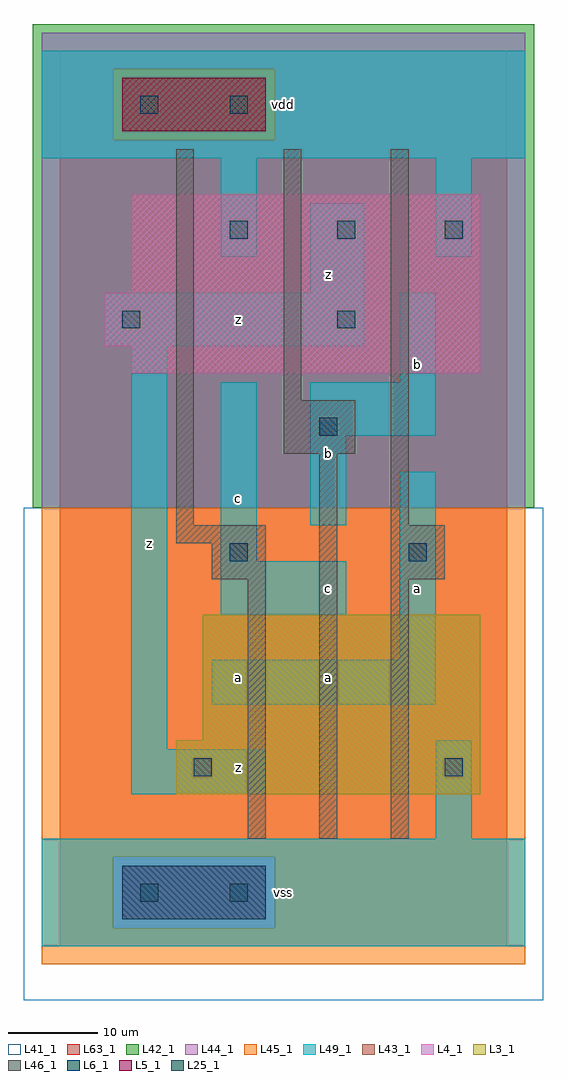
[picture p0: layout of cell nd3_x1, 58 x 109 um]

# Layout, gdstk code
import gdstk
lib = gdstk.Library(unit=1e-6, precision=1e-09)
def R(c, l, rs):  # rectangles x0, y0, x1, y1
    for r in rs: c.add(gdstk.rectangle(r[:2], r[2:], *l))
def A(c, l, x, y, w, h, nx, ny, dx, dy):  # array of equal rectangles
    R(c, l, [(x+i*dx, y+j*dy, x+i*dx+w, y+j*dy+h) for i in range(nx) for j in range(ny)])
L3_1 = (3, 1)
L4_1 = (4, 1)
L5_1 = (5, 1)
L6_1 = (6, 1)
L25_1 = (25, 1)
L41_1 = (41, 1)
L42_1 = (42, 1)
L43_1 = (43, 1)
L44_1 = (44, 1)
L45_1 = (45, 1)
L46_1 = (46, 1)
L49_1 = (49, 1)
L63_1 = (63, 1)

nd3_x1 = lib.new_cell('nd3_x1')
R(nd3_x1, L3_1, [(13,17,47,23), (16,23,47,37)])
R(nd3_x1, L4_1, [(8,64,47,67), (5,67,47,73), (8,73,47,84)])
R(nd3_x1, L5_1, [(7,91,23,97)])
R(nd3_x1, L6_1, [(7,3,23,9)])
A(nd3_x1, L25_1, 19, 79, 2, 2, 3, 1, 12, 0)
R(nd3_x1, L25_1, [(9,5,11,7), (19,5,21,7), (15,19,17,21), (43,19,45,21), (19,43,21,45), (39,43,41,45), (29,57,31,59), (7,69,9,71), (31,69,33,71), (9,93,11,95), (19,93,21,95)])
R(nd3_x1, L41_1, [(-4,-6,54,49), (-3,-3,53,49)])
R(nd3_x1, L42_1, [(-3,49,53,103)])
R(nd3_x1, L43_1, [(7,3,23,9), (13,17,47,23), (16,23,47,37), (8,64,47,67), (5,67,47,73), (8,73,47,84), (7,91,23,97)])
R(nd3_x1, L44_1, [(6,2,24,10), (-2,49,52,90), (-2,90,6,98), (24,90,52,98), (-2,98,52,102)])
R(nd3_x1, L45_1, [(-2,-2,52,2), (-2,2,6,10), (24,2,52,10), (-2,10,52,49), (6,90,24,98)])
R(nd3_x1, L46_1, [(21,12,23,41), (29,12,31,55), (37,12,39,41), (17,41,23,45), (37,41,43,47), (13,45,23,47), (13,47,15,89), (37,47,39,89), (25,55,33,61), (25,61,27,89)])
R(nd3_x1, L49_1, [(-2,0,52,12), (42,12,46,23), (8,17,23,22), (8,22,12,67), (17,27,42,32), (38,32,42,53), (18,37,32,43), (18,43,22,63), (28,47,32,57), (28,57,42,63), (38,63,42,73), (5,67,34,73), (28,73,34,83), (18,77,22,88), (42,77,46,88), (-2,88,52,100)])
R(nd3_x1, L63_1, [(0,0,50,100)])
nd3_x1.add(gdstk.Label('z', (10,45), layer=49, texttype=1))
nd3_x1.add(gdstk.Label('z', (10,45), layer=49, texttype=1))
nd3_x1.add(gdstk.Label('vss', (25,6), layer=49, texttype=1))
nd3_x1.add(gdstk.Label('vss', (25,6), layer=49, texttype=1))
nd3_x1.add(gdstk.Label('z', (20,20), layer=49, texttype=1))
nd3_x1.add(gdstk.Label('z', (20,20), layer=49, texttype=1))
nd3_x1.add(gdstk.Label('a', (20,30), layer=49, texttype=1))
nd3_x1.add(gdstk.Label('a', (20,30), layer=49, texttype=1))
nd3_x1.add(gdstk.Label('c', (20,50), layer=49, texttype=1))
nd3_x1.add(gdstk.Label('c', (20,50), layer=49, texttype=1))
nd3_x1.add(gdstk.Label('z', (20,70), layer=49, texttype=1))
nd3_x1.add(gdstk.Label('z', (20,70), layer=49, texttype=1))
nd3_x1.add(gdstk.Label('vdd', (25,94), layer=49, texttype=1))
nd3_x1.add(gdstk.Label('vdd', (25,94), layer=49, texttype=1))
nd3_x1.add(gdstk.Label('a', (30,30), layer=49, texttype=1))
nd3_x1.add(gdstk.Label('a', (30,30), layer=49, texttype=1))
nd3_x1.add(gdstk.Label('c', (30,40), layer=49, texttype=1))
nd3_x1.add(gdstk.Label('c', (30,40), layer=49, texttype=1))
nd3_x1.add(gdstk.Label('b', (30,55), layer=49, texttype=1))
nd3_x1.add(gdstk.Label('b', (30,55), layer=49, texttype=1))
nd3_x1.add(gdstk.Label('z', (30,75), layer=49, texttype=1))
nd3_x1.add(gdstk.Label('z', (30,75), layer=49, texttype=1))
nd3_x1.add(gdstk.Label('a', (40,40), layer=49, texttype=1))
nd3_x1.add(gdstk.Label('a', (40,40), layer=49, texttype=1))
nd3_x1.add(gdstk.Label('b', (40,65), layer=49, texttype=1))
nd3_x1.add(gdstk.Label('b', (40,65), layer=49, texttype=1))

lib.write_gds('nd3_x1.gds')
